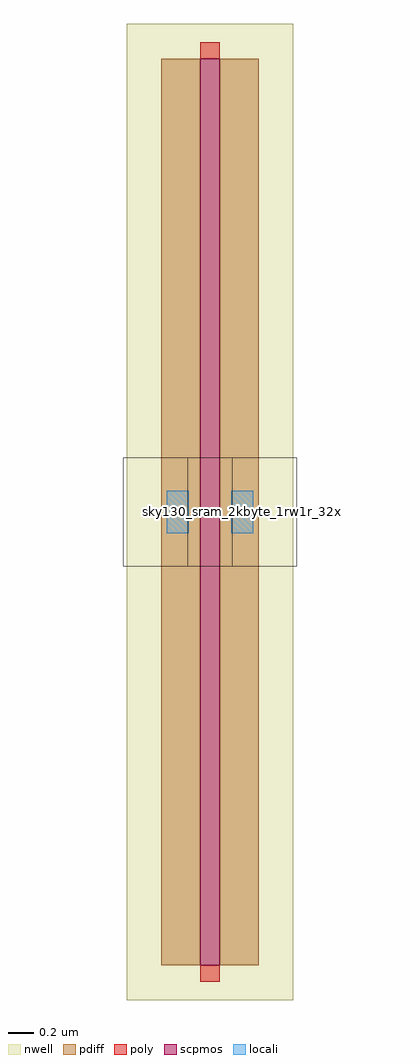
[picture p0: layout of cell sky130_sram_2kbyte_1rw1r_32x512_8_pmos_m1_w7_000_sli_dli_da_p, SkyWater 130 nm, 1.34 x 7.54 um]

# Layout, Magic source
magic
tech sky130A
magscale 1 2
<< nwell >>
rect -54 -54 204 1454
<< scpmos >>
rect 60 0 90 1400
<< pdiff >>
rect 0 0 60 1400
rect 90 0 150 1400
<< poly >>
rect 60 1400 90 1426
rect 60 -26 90 0
<< locali >>
rect 8 667 42 733
rect 108 667 142 733
use sky130_sram_2kbyte_1rw1r_32x512_8_contact_12  sky130_sram_2kbyte_1rw1r_32x512_8_contact_12_0
transform 1 0 100 0 1 667
box -59 -51 109 117
use sky130_sram_2kbyte_1rw1r_32x512_8_contact_12  sky130_sram_2kbyte_1rw1r_32x512_8_contact_12_1
transform 1 0 0 0 1 667
box -59 -51 109 117
<< labels >>
rlabel locali s 25 700 25 700 4 S
rlabel locali s 125 700 125 700 4 D
rlabel poly s 75 700 75 700 4 G
<< properties >>
string FIXED_BBOX -54 -54 204 1454
<< end >>
